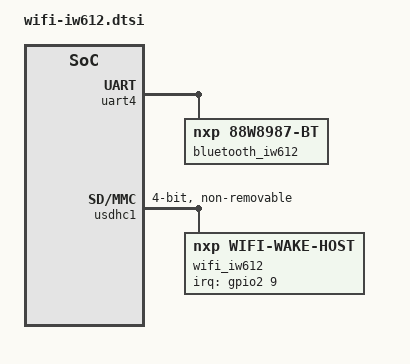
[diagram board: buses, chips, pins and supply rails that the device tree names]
&uart4 { /* bluetooth */
	bluetooth_iw612: bluetooth {
		compatible = "nxp,88w8987-bt";
		//fw-init-baudrate = <3000000>; //Optional. Default is considered 115200 if this parameter not defined.
		max-speed = <3000000>;
		status = "okay";
	};
};

&usdhc1_pwrseq {
	reset-gpios =	<&gpio2 10 GPIO_ACTIVE_LOW>, // WIFI res
			<&gpio2 6 GPIO_ACTIVE_HIGH>, // BT res
			<&gpio1 14 GPIO_ACTIVE_LOW>; // PD
};

&usdhc1 {
	#address-cells = <1>;
	#size-cells = <0>;
	pinctrl-names = "default", "state_100mhz", "state_200mhz";
	pinctrl-0 = <&pinctrl_usdhc1>, <&pinctrl_usdhc1_gpio>;
	pinctrl-1 = <&pinctrl_usdhc1_100mhz>, <&pinctrl_usdhc1_gpio>;
	pinctrl-2 = <&pinctrl_usdhc1_200mhz>, <&pinctrl_usdhc1_gpio>;
	bus-width = <4>;
	non-removable;
	wifi-host;
	pm-ignore-notify;
	cap-power-off-card;
	status = "okay";
	no-1-8-v;
	mmc-pwrseq = <&usdhc1_pwrseq>;
	keep-power-in-suspend;
	wakeup-source;
	fsl,sdio-async-interrupt-enable;
	wifi_iw612: wifi_wake_host {
		compatible = "nxp,wifi-wake-host";
		interrupt-parent = <&gpio2>;
		interrupts = <9 IRQ_TYPE_LEVEL_LOW>;
		interrupt-names = "host-wake";
		status = "okay";
	};
};

&iomuxc {
	ifi-iw612 {
		pinctrl_usdhc1_gpio: usdhc1grpgpio {
			fsl,pins = <
				MX8MM_IOMUXC_SD1_RESET_B_GPIO2_IO10	0x06
				MX8MM_IOMUXC_SD1_DATA4_GPIO2_IO6	0x06
				MX8MM_IOMUXC_GPIO1_IO14_GPIO1_IO14	0x06
			>;
		};
	};
};
